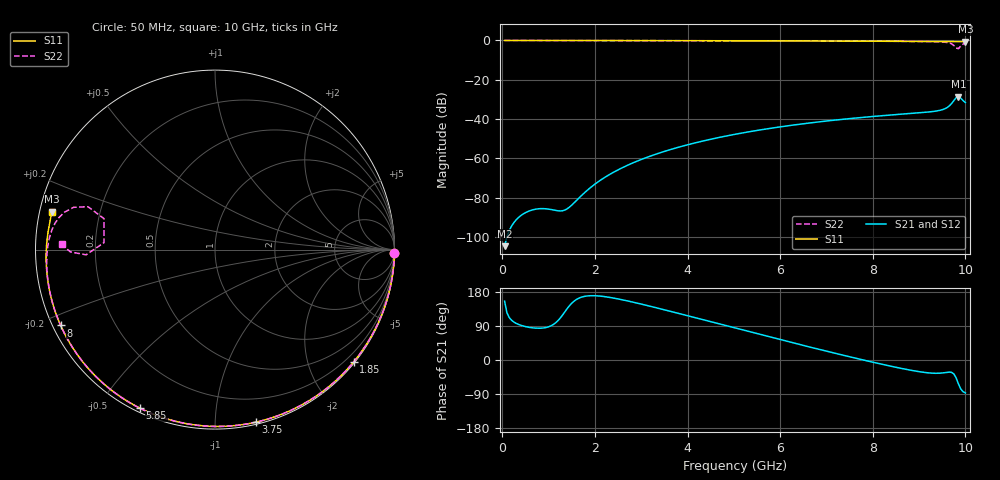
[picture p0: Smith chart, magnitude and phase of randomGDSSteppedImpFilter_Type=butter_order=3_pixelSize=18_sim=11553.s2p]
! freq	dB(S11)	phase(S11)	dB(S12)	phase(S12)
!  dB(S21)	phase(S21)	dB(S22)	phase(S22)
!S-par simulation data
#  GHz  S  DB  R 50
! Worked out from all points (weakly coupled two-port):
!   200 points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, 50 MHz to 10 GHz, reference 50 ohm
!   highest |S21| = -28.62 dB at 9.85 GHz (marker M1); lowest = -104.7 dB at 50 MHz (marker M2)
!   lowest |S11| = -0.6 dB at 10 GHz (marker M3), VSWR 27.97, Z = 1.81 + j5.76 ohm
!   |S11| at or under -10 dB: nowhere
!   |S22| runs from -4.2 to 0.0 dB; largest |S21 - S12| = 0
!   S11 on the Smith chart (normalised r, x): 50 MHz: open; 1.85 GHz: 0.03, -2.82; 3.75 GHz: 0.02, -1.26; 5.85 GHz: 0.02, -0.63; 8 GHz: 0.02, -0.23; 10 GHz: 0.04, +0.12
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0.05  -0.00 -1.1  -104.71 155.1  -104.71 155.1  -0.00 -1.1
0.8  -0.02 -17.1  -85.65 83.8  -85.65 83.8  -0.02 -17.1
1.65  -0.04 -34.9  -80.33 163.0  -80.33 163.0  -0.04 -35.0
1.75  -0.05 -37.0  -78.06 167.2  -78.06 167.2  -0.05 -37.0
1.85  -0.05 -39.0  -75.96 169.2  -75.96 169.2  -0.05 -39.1
2.15  -0.06 -45.2  -70.66 168.2  -70.66 168.2  -0.06 -45.2
2.5  -0.07 -52.3  -65.86 161.2  -65.86 161.2  -0.07 -52.3
3.4  -0.09 -70.0  -57.23 135.6  -57.23 135.6  -0.09 -70.1
3.75  -0.10 -76.7  -54.71 124.7  -54.71 124.7  -0.10 -76.8
5.05  -0.16 -100.9  -47.66 83.6  -47.66 83.6  -0.15 -101.0
5.85  -0.20 -115.3  -44.51 58.5  -44.51 58.5  -0.20 -115.4
6.7  -0.26 -130.4  -41.83 32.4  -41.83 32.4  -0.25 -130.5
8  -0.37 -153.8  -38.70 -5.8  -38.70 -5.8  -0.37 -154.1
8.35  -0.41 -160.3  -38.01 -15.3  -38.01 -15.3  -0.41 -160.8
9.4  -0.54 179.3  -35.81 -35.1  -35.81 -35.1  -0.68 175.8
9.6  -0.57 175.2  -34.23 -32.6  -34.23 -32.6  -1.03 168.5
9.7  -0.59 173.2  -32.17 -32.6  -32.17 -32.6  -1.70 163.3
9.75  -0.60 172.2  -30.61 -36.7  -30.61 -36.7  -2.53 161.3
9.8  -0.60 171.1  -29.10 -47.2  -29.10 -47.2  -3.85 164.4
9.85  -0.60 170.1  -28.62 -63.1  -28.62 -63.1  -4.16 176.4
9.9  -0.61 169.0  -29.41 -76.4  -29.41 -76.4  -2.87 -177.7
10  -0.62 166.8  -31.60 -87.0  -31.60 -87.0  -1.37 178.1
